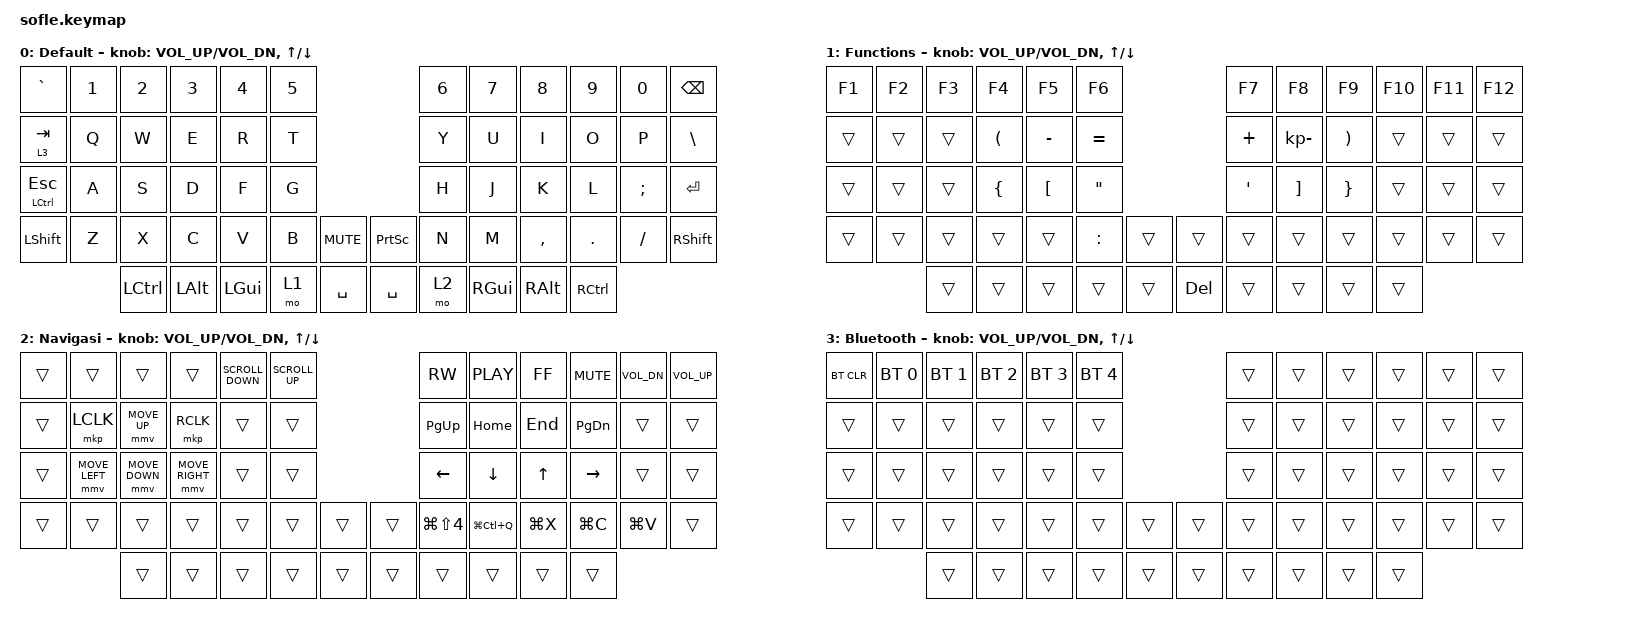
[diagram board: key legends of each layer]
/*
 * Copyright (c) 2020 The ZMK Contributors
 *
 * SPDX-License-Identifier: MIT
 */

#include <behaviors.dtsi>
#include <dt-bindings/zmk/keys.h>
#include <dt-bindings/zmk/bt.h>
#include <dt-bindings/zmk/mouse.h>

/ {

    keymap {
        compatible = "zmk,keymap";

        default_layer {
            label = "Default";

            bindings = <
&kp GRAVE       &kp N1    &kp N2    &kp N3   &kp N4    &kp N5                             &kp N6   &kp N7    &kp N8    &kp N9   &kp N0   &kp BSPC
&lt 3 TAB       &kp Q     &kp W     &kp E    &kp R     &kp T                              &kp Y    &kp U     &kp I     &kp O    &kp P    &kp BSLH
&mt LCTRL ESC   &kp A     &kp S     &kp D    &kp F     &kp G                              &kp H    &kp J     &kp K     &kp L    &kp SEMI &kp ENTER
&kp LSHFT       &kp Z     &kp X     &kp C    &kp V     &kp B  &kp C_MUTE    &kp PSCRN     &kp N    &kp M     &kp COMMA &kp DOT  &kp FSLH &kp RSHFT
                          &kp LCTRL &kp LALT &kp LGUI  &mo 1  &kp SPACE     &kp SPACE     &mo 2    &kp RGUI  &kp RALT  &kp RCTRL 
            >;

            sensor-bindings = <&inc_dec_kp C_VOL_UP C_VOL_DN &inc_dec_kp UP DOWN>;
        };

        lower_layer {
            label = "Functions";

            bindings = <
&kp F1    &kp F2    &kp F3      &kp F4      &kp F5    &kp F6                      &kp F7    &kp F8        &kp F9    &kp F10   &kp F11   &kp F12
&trans    &trans    &trans      &kp LPAR    &kp MINUS &kp EQUAL                   &kp PLUS  &kp KP_MINUS  &kp RPAR  &trans    &trans    &trans
&trans    &trans    &trans      &kp LBRC    &kp LBKT  &kp DQT                     &kp SQT   &kp RBKT      &kp RBRC  &trans    &trans    &trans
&trans    &trans    &trans      &trans      &trans    &kp COLON  &trans   &trans  &trans    &trans        &trans    &trans    &trans    &trans
                    &trans      &trans      &trans    &trans     &trans   &kp DEL &trans    &trans        &trans    &trans
            >;

            sensor-bindings = <&inc_dec_kp C_VOL_UP C_VOL_DN &inc_dec_kp UP DOWN>;
        };



        navigation {
            label = "Navigasi";

            bindings = <
&trans  &trans         &trans          &trans           &kp K_SCROLL_DOWN &kp K_SCROLL_UP              &kp C_RW       &kp C_PLAY    &kp C_FF   &kp C_MUTE    &kp C_VOL_DN  &kp C_VOL_UP
&trans  &mkp LCLK      &mmv MOVE_UP    &mkp RCLK        &trans            &trans                       &kp PG_UP      &kp HOME      &kp END    &kp PG_DN    &trans  &trans
&trans  &mmv MOVE_LEFT &mmv MOVE_DOWN  &mmv MOVE_RIGHT  &trans            &trans                       &kp LEFT       &kp DOWN      &kp UP     &kp RIGHT &trans &trans
&trans  &trans         &trans          &trans           &trans            &trans  &trans       &trans  &kp LG(LS(N4)) &kp LG(LC(Q)) &kp LG(X)  &kp LG(C)    &kp LG(V)  &trans
                       &trans          &trans           &trans            &trans  &trans       &trans  &trans         &trans        &trans     &trans
            >;

            sensor-bindings = <&inc_dec_kp C_VOL_UP C_VOL_DN &inc_dec_kp UP DOWN>;
        };

        bluetooth {
            label = "Bluetooth";

            bindings = <
&bt BT_CLR &bt BT_SEL 0 &bt BT_SEL 1 &bt BT_SEL 2 &bt BT_SEL 3 &bt BT_SEL 4             &trans    &trans    &trans   &trans    &trans  &trans
&trans     &trans       &trans       &trans       &trans       &trans                   &trans    &trans    &trans   &trans    &trans  &trans
&trans     &trans       &trans       &trans       &trans       &trans                   &trans    &trans    &trans   &trans    &trans  &trans 
&trans     &trans       &trans       &trans       &trans       &trans  &trans   &trans  &trans    &trans    &trans   &trans    &trans  &trans
                        &trans       &trans       &trans       &trans  &trans   &trans  &trans    &trans    &trans   &trans
            >;

              sensor-bindings = <&inc_dec_kp C_VOL_UP C_VOL_DN &inc_dec_kp UP DOWN>;
        };
    };              

};
